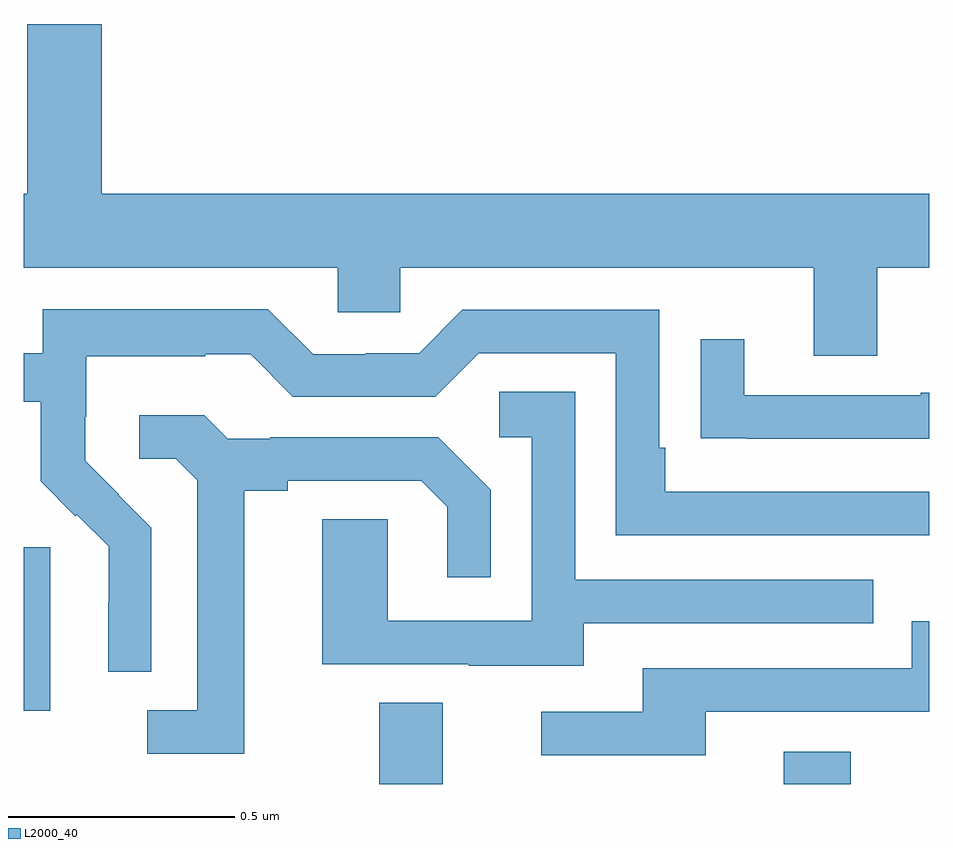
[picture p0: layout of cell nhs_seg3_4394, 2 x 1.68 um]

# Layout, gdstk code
import gdstk
lib = gdstk.Library(unit=1e-6, precision=1e-09)
def R(c, l, rs):  # rectangles x0, y0, x1, y1
    for r in rs: c.add(gdstk.rectangle(r[:2], r[2:], *l))
def P(c, l, *ps):  # polygons
    for p in ps: c.add(gdstk.Polygon(p, *l))
L2000_40 = (2000, 40)

nhs_seg3_4394 = lib.new_cell('nhs_seg3_4394')
R(nhs_seg3_4394, L2000_40, [(165.785,742.4,165.925,742.58), (166.679,742.4,166.827,742.471), (165,742.562,165.058,742.923)])
P(nhs_seg3_4394, L2000_40, [(166.885,743.54),(167,743.54),(167,743.704),(165.172,743.704),(165.172,744.079),(165.008,744.079),(165.008,743.704),(165,743.704),(165,743.54),(165.693,743.54),(165.693,743.442),(165.831,743.442),(165.831,743.54),(166.745,743.54),(166.745,743.346),(166.885,743.346)],
  [(165.282,742.966),(165.209,743.039),(165.21,743.04),(165.136,743.114),(165.136,743.211),(165.138,743.211),(165.138,743.345),(165.401,743.345),(165.401,743.349),(165.501,743.349),(165.594,743.256),(165.909,743.256),(166.005,743.352),(166.308,743.352),(166.308,742.95),(167,742.95),(167,743.046),(166.417,743.046),(166.417,743.143),(166.404,743.143),(166.404,743.448),(165.969,743.448),(165.873,743.352),(165.755,743.352),(165.755,743.349),(165.639,743.349),(165.539,743.449),(165.042,743.449),(165.042,743.352),(165,743.352),(165,743.244),(165.037,743.244),(165.037,743.069),(165.114,742.992),(165.117,742.995),(165.188,742.925),(165.188,742.802),(165.186,742.802),(165.186,742.648),(165.282,742.648)],
  [(167,743.264),(166.981,743.264),(166.981,743.259),(166.591,743.259),(166.591,743.383),(166.495,743.383),(166.495,743.164),(166.597,743.164),(166.597,743.163),(167,743.163)],
  [(166.237,742.755),(166.877,742.755),(166.877,742.851),(166.218,742.851),(166.218,743.267),(166.05,743.267),(166.05,743.166),(166.122,743.166),(166.122,742.761),(165.804,742.761),(165.804,742.985),(165.659,742.985),(165.659,742.665),(165.983,742.665),(165.983,742.661),(166.237,742.661)],
  [(165.487,743.048),(165.583,743.048),(165.583,743.07),(165.878,743.07),(165.935,743.013),(165.935,742.857),(166.032,742.857),(166.032,743.05),(165.916,743.166),(165.544,743.166),(165.544,743.163),(165.45,743.163),(165.398,743.215),(165.255,743.215),(165.255,743.118),(165.336,743.118),(165.383,743.071),(165.383,742.563),(165.273,742.563),(165.273,742.467),(165.487,742.467)],
  [(166.507,742.56),(167,742.56),(167,742.759),(166.962,742.759),(166.962,742.656),(166.367,742.656),(166.367,742.56),(166.143,742.56),(166.143,742.464),(166.507,742.464)])

lib.write_gds('nhs_seg3_4394.gds')
